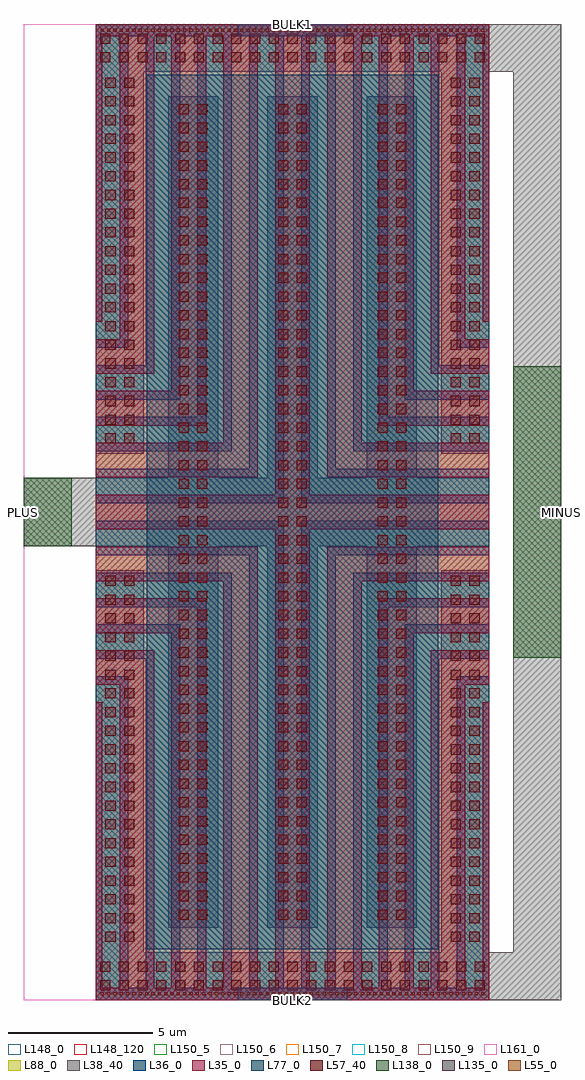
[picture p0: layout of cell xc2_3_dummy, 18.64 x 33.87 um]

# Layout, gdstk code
import gdstk
lib = gdstk.Library(unit=1e-6, precision=1e-09)
def R(c, l, rs):  # rectangles x0, y0, x1, y1
    for r in rs: c.add(gdstk.rectangle(r[:2], r[2:], *l))
def A(c, l, x, y, w, h, nx, ny, dx, dy):  # array of equal rectangles
    R(c, l, [(x+i*dx, y+j*dy, x+i*dx+w, y+j*dy+h) for i in range(nx) for j in range(ny)])
def P(c, l, *ps):  # polygons
    for p in ps: c.add(gdstk.Polygon(p, *l))
L35_0 = (35, 0)
L36_0 = (36, 0)
L38_40 = (38, 40)
L55_0 = (55, 0)
L57_40 = (57, 40)
L77_0 = (77, 0)
L88_0 = (88, 0)
L135_0 = (135, 0)
L138_0 = (138, 0)
L148_0 = (148, 0)
L148_120 = (148, 120)
L150_5 = (150, 5)
L150_6 = (150, 6)
L150_7 = (150, 7)
L150_8 = (150, 8)
L150_9 = (150, 9)
L161_0 = (161, 0)

xc2_3_dummy = lib.new_cell('xc2_3_dummy')
R(xc2_3_dummy, L35_0, [(-1.76,-1.76,-1.54,7.975), (-1.76,-1.76,11.88,-1.33), (-0.94,-1.76,0.26,9.775), (0.86,-1.76,2.06,11.575), (2.66,-1.76,3.86,13.375), (4.46,-1.76,5.66,32.11), (6.26,-1.76,7.46,13.375), (8.06,-1.76,9.26,11.575), (9.86,-1.76,11.06,9.775), (11.66,-1.76,11.88,7.975), (-1.76,7.375,-1.54,8.575), (11.66,7.375,11.88,8.575), (-1.76,9.175,0.26,10.375), (9.86,9.175,11.88,10.375), (-1.76,10.975,2.06,12.175), (8.06,10.975,11.88,12.175), (-1.76,12.775,3.86,13.975), (6.26,12.775,11.88,13.975), (-1.76,14.575,11.88,15.775), (-1.76,16.375,3.86,17.575), (6.26,16.375,11.88,17.575), (2.66,16.975,3.86,32.11), (6.26,16.975,7.46,32.11), (-1.76,18.175,2.06,19.375), (8.06,18.175,11.88,19.375), (0.86,18.775,2.06,32.11), (8.06,18.775,9.26,32.11), (-1.76,19.975,0.26,21.175), (9.86,19.975,11.88,21.175), (-0.94,20.575,0.26,32.11), (9.86,20.575,11.06,32.11), (-1.76,21.775,-1.54,22.975), (11.66,21.775,11.88,22.975), (-1.76,22.375,-1.54,32.11), (11.66,22.375,11.88,32.11), (-1.76,31.68,11.88,32.11)])
R(xc2_3_dummy, L36_0, [(-1.76,-1.76,-0.64,8.875), (-1.76,-1.76,11.88,-1.33), (-0.04,-1.76,1.16,10.675), (1.76,-1.76,2.96,12.475), (3.56,-1.76,4.76,14.275), (5.36,-1.76,6.56,14.275), (7.16,-1.76,8.36,12.475), (8.96,-1.76,10.16,10.675), (10.76,-1.76,11.88,8.875), (-1.76,8.275,-0.64,9.475), (10.76,8.275,11.88,9.475), (-1.76,10.075,1.16,11.275), (8.96,10.075,11.88,11.275), (-1.76,11.875,2.96,13.075), (7.16,11.875,11.88,13.075), (-1.76,13.675,4.76,14.875), (5.36,13.675,11.88,14.875), (-1.76,15.475,4.76,16.675), (5.36,15.475,11.88,16.675), (3.56,16.075,4.76,32.11), (5.36,16.075,6.56,32.11), (-1.76,17.275,2.96,18.475), (7.16,17.275,11.88,18.475), (1.76,17.875,2.96,32.11), (7.16,17.875,8.36,32.11), (-1.76,19.075,1.16,20.275), (8.96,19.075,11.88,20.275), (-0.04,19.675,1.16,32.11), (8.96,19.675,10.16,32.11), (-1.76,20.875,-0.64,22.075), (10.76,20.875,11.88,22.075), (-1.76,21.475,-0.64,32.11), (10.76,21.475,11.88,32.11), (-1.76,31.68,11.88,32.11)])
A(xc2_3_dummy, L38_40, 0.74, 0.74, 1.74, 13.255, 3, 1, 3.45, 0)
R(xc2_3_dummy, L38_40, [(11.88,-1.76,14.38,-0.1), (12.72,-1.76,14.38,32.11), (-4.26,13.995,11.88,16.355), (0.74,16.355,2.48,29.61), (0.74,16.355,2.48,29.61), (4.19,16.355,5.93,29.61), (4.19,16.355,5.93,29.61), (7.64,16.355,9.38,29.61), (7.64,16.355,9.38,29.61), (11.88,30.45,14.38,32.11)])
P(xc2_3_dummy, L38_40, [(-0.1,30.45),(10.22,30.45),(10.22,17.195),(11.88,17.195),(11.88,32.11),(-1.76,32.11),(-1.76,17.195),(-0.1,17.195)],
  [(-1.76,13.155),(-1.76,-1.76),(11.88,-1.76),(11.88,13.155),(10.22,13.155),(10.22,-0.1),(-0.1,-0.1),(-0.1,13.155)])
A(xc2_3_dummy, L55_0, -1.595, -1.6, 0.11, 0.11, 61, 2, 0.22, 33.44)
A(xc2_3_dummy, L57_40, -1.615, -1.43, 0.35, 0.35, 21, 2, 0.65, 0.65)
A(xc2_3_dummy, L57_40, -1.43, 0.257, 0.35, 0.35, 1, 15, 0, 0.65)
A(xc2_3_dummy, L57_40, -0.78, 0.257, 0.35, 0.35, 1, 15, 0, 0.65)
A(xc2_3_dummy, L57_40, 10.55, 0.257, 0.35, 0.35, 1, 15, 0, 0.65)
A(xc2_3_dummy, L57_40, 11.2, 0.257, 0.35, 0.35, 1, 15, 0, 0.65)
A(xc2_3_dummy, L57_40, 1.11, 1.025, 0.35, 0.35, 1, 44, 0, 0.65)
A(xc2_3_dummy, L57_40, 1.76, 1.025, 0.35, 0.35, 1, 44, 0, 0.65)
A(xc2_3_dummy, L57_40, 4.56, 1.025, 0.35, 0.35, 1, 44, 0, 0.65)
A(xc2_3_dummy, L57_40, 5.21, 1.025, 0.35, 0.35, 1, 44, 0, 0.65)
A(xc2_3_dummy, L57_40, 8.01, 1.025, 0.35, 0.35, 1, 44, 0, 0.65)
A(xc2_3_dummy, L57_40, 8.66, 1.025, 0.35, 0.35, 1, 44, 0, 0.65)
A(xc2_3_dummy, L57_40, -1.43, 11.308, 0.35, 0.35, 1, 3, 0, 0.65)
A(xc2_3_dummy, L57_40, -0.78, 11.308, 0.35, 0.35, 1, 3, 0, 0.65)
A(xc2_3_dummy, L57_40, 10.55, 11.308, 0.35, 0.35, 1, 3, 0, 0.65)
A(xc2_3_dummy, L57_40, 11.2, 11.308, 0.35, 0.35, 1, 3, 0, 0.65)
A(xc2_3_dummy, L57_40, -1.43, 17.553, 0.35, 0.35, 1, 6, 0, 0.65)
A(xc2_3_dummy, L57_40, -0.78, 17.553, 0.35, 0.35, 1, 6, 0, 0.65)
A(xc2_3_dummy, L57_40, 10.55, 17.553, 0.35, 0.35, 1, 6, 0, 0.65)
A(xc2_3_dummy, L57_40, 11.2, 17.553, 0.35, 0.35, 1, 6, 0, 0.65)
A(xc2_3_dummy, L57_40, -1.43, 22.102, 0.35, 0.35, 1, 13, 0, 0.65)
A(xc2_3_dummy, L57_40, -0.78, 22.102, 0.35, 0.35, 1, 13, 0, 0.65)
A(xc2_3_dummy, L57_40, 10.55, 22.102, 0.35, 0.35, 1, 13, 0, 0.65)
A(xc2_3_dummy, L57_40, 11.2, 22.102, 0.35, 0.35, 1, 13, 0, 0.65)
A(xc2_3_dummy, L57_40, -1.615, 30.78, 0.35, 0.35, 21, 2, 0.65, 0.65)
R(xc2_3_dummy, L57_40, [(-1.43,10.008,-1.08,10.357), (-0.78,10.008,-0.43,10.357), (10.55,10.008,10.9,10.357), (11.2,10.008,11.55,10.357), (-1.43,10.658,-1.08,11.007), (-0.78,10.658,-0.43,11.007), (10.55,10.658,10.9,11.007), (11.2,10.658,11.55,11.007), (-1.43,21.452,-1.08,21.803), (-0.78,21.452,-0.43,21.803), (10.55,21.452,10.9,21.803), (11.2,21.452,11.55,21.803)])
R(xc2_3_dummy, L77_0, [(0,0,10.12,30.35)])
R(xc2_3_dummy, L88_0, [(-1.76,-1.76,11.88,32.11)])
R(xc2_3_dummy, L135_0, [(3.158,-1.76,6.962,-1.33), (3.158,31.68,6.962,32.11)])
R(xc2_3_dummy, L138_0, [(12.72,10.115,14.38,20.235), (-4.26,13.995,-2.6,16.355)])
R(xc2_3_dummy, L148_0, [(-4.26,-1.76,14.38,32.11)])
R(xc2_3_dummy, L148_120, [(-4.26,-1.76,14.38,32.11)])
R(xc2_3_dummy, L150_5, [(-4.26,-1.76,14.38,32.11)])
R(xc2_3_dummy, L150_6, [(-4.26,-1.76,14.38,32.11)])
R(xc2_3_dummy, L150_7, [(-4.26,-1.76,14.38,32.11)])
R(xc2_3_dummy, L150_8, [(-4.26,-1.76,14.38,32.11)])
R(xc2_3_dummy, L150_9, [(-4.26,-1.76,14.38,32.11)])
R(xc2_3_dummy, L161_0, [(-4.26,-1.76,14.38,32.11)])
xc2_3_dummy.add(gdstk.Label('BULK1', (5.06,32.11), layer=135, texttype=0))
xc2_3_dummy.add(gdstk.Label('BULK2', (5.06,-1.76), layer=135, texttype=0))
xc2_3_dummy.add(gdstk.Label('PLUS', (-4.26,15.175), layer=138, texttype=0))
xc2_3_dummy.add(gdstk.Label('MINUS', (14.38,15.175), layer=138, texttype=0))

lib.write_gds('xc2_3_dummy.gds')
